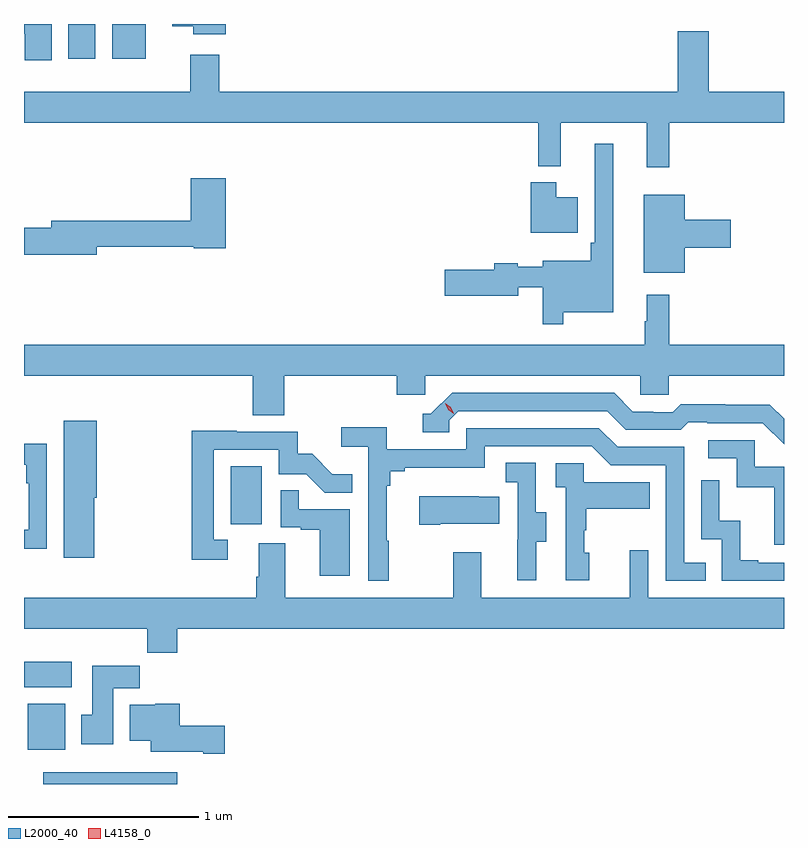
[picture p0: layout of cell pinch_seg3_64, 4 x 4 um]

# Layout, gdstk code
import gdstk
lib = gdstk.Library(unit=1e-6, precision=1e-09)
def R(c, l, rs):  # rectangles x0, y0, x1, y1
    for r in rs: c.add(gdstk.rectangle(r[:2], r[2:], *l))
def P(c, l, *ps):  # polygons
    for p in ps: c.add(gdstk.Polygon(p, *l))
L2000_40 = (2000, 40)
L4158_0 = (4158, 0)

pinch_seg3_64 = lib.new_cell('pinch_seg3_64')
R(pinch_seg3_64, L2000_40, [(1032.131,736.064,1032.836,736.126), (1032.05,736.244,1032.247,736.486), (1032.03,736.574,1032.28,736.708), (1033.118,737.43,1033.282,737.737), (1032.263,739.88,1032.406,740.064), (1032.494,739.88,1032.67,740.064)])
P(pinch_seg3_64, L2000_40, [(1033.091,740.064),(1032.809,740.064),(1032.809,740.051),(1032.92,740.051),(1032.92,740.009),(1033.091,740.009)],
  [(1032.175,740.064),(1032.03,740.064),(1032.03,740.013),(1032.035,740.013),(1032.035,739.872),(1032.175,739.872)],
  [(1035.425,739.544),(1036.03,739.544),(1036.03,739.708),(1035.634,739.708),(1035.634,740.025),(1035.47,740.025),(1035.47,739.708),(1033.058,739.708),(1033.058,739.903),(1032.905,739.903),(1032.905,739.708),(1032.03,739.708),(1032.03,739.544),(1034.737,739.544),(1034.737,739.316),(1034.855,739.316),(1034.855,739.544),(1035.308,739.544),(1035.308,739.311),(1035.425,739.311)],
  [(1034.869,738.548),(1035.13,738.548),(1035.13,739.435),(1035.033,739.435),(1035.033,738.913),(1035.013,738.913),(1035.013,738.817),(1034.759,738.817),(1034.759,738.787),(1034.628,738.787),(1034.628,738.806),(1034.504,738.806),(1034.504,738.77),(1034.244,738.77),(1034.244,738.635),(1034.632,738.635),(1034.632,738.678),(1034.76,738.678),(1034.76,738.483),(1034.869,738.483)],
  [(1032.412,738.892),(1032.924,738.892),(1032.924,738.884),(1033.091,738.884),(1033.091,739.252),(1032.908,739.252),(1032.908,739.028),(1032.173,739.028),(1032.173,738.992),(1032.03,738.992),(1032.03,738.85),(1032.412,738.85)],
  [(1034.944,739.153),(1034.83,739.153),(1034.83,739.231),(1034.696,739.231),(1034.696,738.965),(1034.944,738.965)],
  [(1035.508,738.887),(1035.751,738.887),(1035.751,739.034),(1035.508,739.034),(1035.508,739.165),(1035.293,739.165),(1035.293,738.755),(1035.508,738.755)],
  [(1035.308,738.5),(1035.297,738.5),(1035.297,738.376),(1032.03,738.376),(1032.03,738.212),(1033.235,738.212),(1033.235,738.004),(1033.4,738.004),(1033.4,738.212),(1033.991,738.212),(1033.991,738.114),(1034.142,738.114),(1034.142,738.212),(1035.273,738.212),(1035.273,738.114),(1035.423,738.114),(1035.423,738.212),(1036.03,738.212),(1036.03,738.376),(1035.425,738.376),(1035.425,738.64),(1035.308,738.64)],
  [(1036.03,737.987),(1035.956,738.061),(1035.72,738.061),(1035.72,738.064),(1035.487,738.064),(1035.445,738.021),(1035.342,738.021),(1035.342,738.024),(1035.235,738.024),(1035.136,738.123),(1034.283,738.123),(1034.172,738.012),(1034.129,738.012),(1034.129,737.916),(1034.268,737.916),(1034.268,737.979),(1034.316,738.027),(1035.099,738.027),(1035.198,737.928),(1035.487,737.928),(1035.526,737.967),(1035.625,737.967),(1035.625,737.964),(1035.918,737.964),(1036.03,737.852)],
  [(1032.4,737.571),(1032.412,737.571),(1032.412,737.977),(1032.239,737.977),(1032.239,737.256),(1032.4,737.256)],
  [(1033.951,737.345),(1033.939,737.345),(1033.939,737.633),(1033.958,737.633),(1033.958,737.71),(1034.035,737.71),(1034.035,737.729),(1034.454,737.729),(1034.454,737.841),(1035.018,737.841),(1035.117,737.742),(1035.408,737.742),(1035.408,737.133),(1035.617,737.133),(1035.617,737.229),(1035.504,737.229),(1035.504,737.838),(1035.154,737.838),(1035.055,737.937),(1034.358,737.937),(1034.358,737.826),(1033.94,737.826),(1033.94,737.942),(1033.701,737.942),(1033.701,737.84),(1033.842,737.84),(1033.842,737.133),(1033.951,737.133)],
  [(1033.102,737.349),(1033.029,737.349),(1033.029,737.823),(1033.371,737.823),(1033.371,737.694),(1033.515,737.694),(1033.613,737.596),(1033.757,737.596),(1033.757,737.695),(1033.653,737.695),(1033.546,737.802),(1033.47,737.802),(1033.47,737.919),(1033.151,737.919),(1033.151,737.924),(1032.913,737.924),(1032.913,737.244),(1033.102,737.244)],
  [(1036.03,737.733),(1035.876,737.733),(1035.876,737.874),(1035.632,737.874),(1035.632,737.778),(1035.78,737.778),(1035.78,737.625),(1035.979,737.625),(1035.979,737.322),(1036.03,737.322)],
  [(1032.15,737.854),(1032.03,737.854),(1032.03,737.744),(1032.041,737.744),(1032.041,737.648),(1032.054,737.648),(1032.054,737.403),(1032.03,737.403),(1032.03,737.302),(1032.15,737.302)],
  [(1034.725,737.338),(1034.779,737.338),(1034.779,737.493),(1034.724,737.493),(1034.724,737.756),(1034.565,737.756),(1034.565,737.653),(1034.628,737.653),(1034.628,737.349),(1034.627,737.349),(1034.627,737.136),(1034.725,737.136)],
  [(1035.004,737.28),(1034.978,737.28),(1034.978,737.399),(1034.989,737.399),(1034.989,737.513),(1035.323,737.513),(1035.323,737.653),(1034.976,737.653),(1034.976,737.751),(1034.829,737.751),(1034.829,737.627),(1034.88,737.627),(1034.88,737.136),(1035.004,737.136)],
  [(1036.03,737.229),(1035.895,737.229),(1035.895,737.242),(1035.8,737.242),(1035.8,737.45),(1035.69,737.45),(1035.69,737.662),(1035.594,737.662),(1035.594,737.352),(1035.702,737.352),(1035.702,737.133),(1036.03,737.133)],
  [(1033.744,737.511),(1033.475,737.511),(1033.475,737.609),(1033.38,737.609),(1033.38,737.415),(1033.487,737.415),(1033.487,737.403),(1033.586,737.403),(1033.586,737.16),(1033.744,737.16)],
  [(1034.221,737.435),(1034.531,737.435),(1034.531,737.575),(1034.423,737.575),(1034.423,737.578),(1034.109,737.578),(1034.109,737.428),(1034.221,737.428)],
  [(1032.836,736.88),(1036.03,736.88),(1036.03,737.044),(1035.315,737.044),(1035.315,737.293),(1035.218,737.293),(1035.218,737.044),(1034.437,737.044),(1034.437,737.284),(1034.29,737.284),(1034.29,737.044),(1033.405,737.044),(1033.405,737.33),(1033.265,737.33),(1033.265,737.156),(1033.253,737.156),(1033.253,737.044),(1032.03,737.044),(1032.03,736.88),(1032.679,736.88),(1032.679,736.756),(1032.836,736.756)],
  [(1032.499,736.568),(1032.638,736.568),(1032.638,736.687),(1032.389,736.687),(1032.389,736.428),(1032.332,736.428),(1032.332,736.272),(1032.499,736.272)],
  [(1033.087,736.37),(1032.851,736.37),(1032.851,736.486),(1032.72,736.486),(1032.72,736.48),(1032.587,736.48),(1032.587,736.292),(1032.698,736.292),(1032.698,736.235),(1032.974,736.235),(1032.974,736.223),(1033.087,736.223)])
P(pinch_seg3_64, L4158_0, [(1034.293,738.014),(1034.262,738.034),(1034.246,738.066),(1034.246,738.067),(1034.247,738.067),(1034.277,738.047),(1034.293,738.014),(1034.293,738.014)])

lib.write_gds('pinch_seg3_64.gds')
